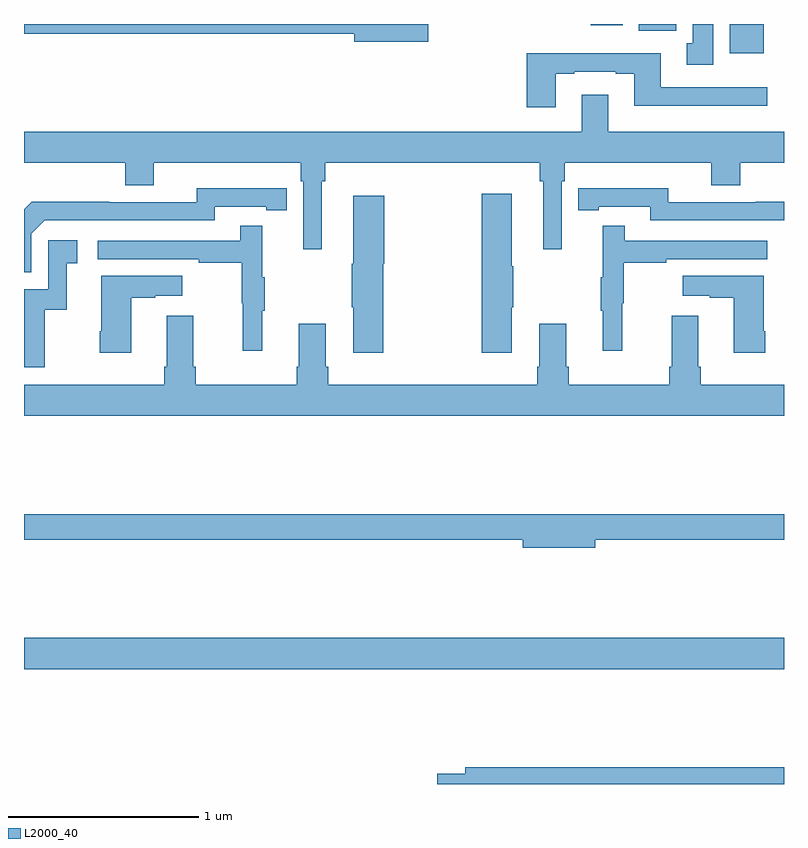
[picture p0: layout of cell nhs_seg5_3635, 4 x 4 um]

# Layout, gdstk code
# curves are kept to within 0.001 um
import gdstk
lib = gdstk.Library(unit=1e-6, precision=1e-09)
def R(c, l, rs):  # rectangles x0, y0, x1, y1
    for r in rs: c.add(gdstk.rectangle(r[:2], r[2:], *l))
def P(c, l, *ps):  # polygons
    for p in ps: c.add(gdstk.Polygon(p, *l))
L2000_40 = (2000, 40)

nhs_seg5_3635 = lib.new_cell('nhs_seg5_3635')
R(nhs_seg5_3635, L2000_40, [(325,879.404,329,879.568), (328.715,882.644,328.894,882.799), (328.235,882.764,328.432,882.799), (327.983,882.792,328.15,882.799)])
P(nhs_seg5_3635, L2000_40, [(328.627,882.799),(328.52,882.799),(328.52,882.698),(328.487,882.698),(328.487,882.585),(328.627,882.585)],
  [(327.127,882.799),(325,882.799),(325,882.748),(326.738,882.748),(326.738,882.706),(327.127,882.706)],
  [(327.799,882.537),(327.895,882.537),(327.895,882.549),(328.115,882.549),(328.115,882.537),(328.211,882.537),(328.211,882.368),(328.912,882.368),(328.912,882.465),(328.351,882.465),(328.351,882.646),(327.647,882.646),(327.647,882.36),(327.799,882.36)],
  [(326.566,881.972),(326.585,881.972),(326.585,882.068),(327.715,882.068),(327.715,881.972),(327.734,881.972),(327.734,881.613),(327.831,881.613),(327.831,881.972),(327.845,881.972),(327.845,882.068),(328.616,882.068),(328.616,881.951),(328.769,881.951),(328.769,882.068),(329,882.068),(329,882.232),(328.075,882.232),(328.075,882.427),(327.935,882.427),(327.935,882.232),(325,882.232),(325,882.068),(325.532,882.068),(325.532,881.951),(325.684,881.951),(325.684,882.068),(326.456,882.068),(326.456,881.972),(326.469,881.972),(326.469,881.613),(326.566,881.613)],
  [(325.038,881.694),(325.11,881.766),(326.004,881.766),(326.004,881.838),(326.276,881.838),(326.276,881.818),(326.384,881.818),(326.384,881.934),(325.908,881.935),(325.908,881.862),(325.448,881.862),(325.448,881.864),(325.04,881.864),(325,881.824),(325,881.493),(325.038,881.493)],
  [(329,881.864),(328.852,881.864),(328.852,881.862),(328.392,881.862),(328.392,881.935),(328.024,881.935),(328.024,881.934),(327.916,881.934),(327.916,881.818),(328.024,881.818),(328.024,881.838),(328.296,881.838),(328.296,881.766),(329,881.766)],
  [(327.568,881.308),(327.576,881.308),(327.576,881.525),(327.568,881.525),(327.568,881.905),(327.41,881.905),(327.41,881.07),(327.568,881.07)],
  [(326.891,881.538),(326.896,881.538),(326.896,881.896),(326.732,881.896),(326.732,881.538),(326.725,881.538),(326.725,881.308),(326.732,881.308),(326.732,881.07),(326.891,881.07)],
  [(326.255,881.291),(326.266,881.291),(326.266,881.465),(326.255,881.465),(326.255,881.737),(326.137,881.737),(326.137,881.658),(325.389,881.658),(325.389,881.562),(325.921,881.562),(325.921,881.542),(326.145,881.542),(326.145,881.328),(326.152,881.328),(326.152,881.079),(326.255,881.079)],
  [(328.148,881.328),(328.156,881.328),(328.156,881.542),(328.379,881.542),(328.379,881.562),(328.912,881.562),(328.912,881.658),(328.163,881.658),(328.163,881.737),(328.046,881.737),(328.046,881.465),(328.035,881.465),(328.035,881.291),(328.046,881.291),(328.046,881.079),(328.148,881.079)],
  [(325.108,881.295),(325.226,881.295),(325.226,881.541),(325.279,881.541),(325.279,881.662),(325.128,881.662),(325.128,881.403),(325,881.403),(325,880.992),(325.108,880.992)],
  [(325.564,881.359),(325.691,881.359),(325.691,881.369),(325.834,881.369),(325.834,881.473),(325.406,881.473),(325.406,881.182),(325.399,881.182),(325.399,881.07),(325.564,881.07)],
  [(328.902,881.182),(328.894,881.182),(328.894,881.473),(328.467,881.473),(328.467,881.369),(328.61,881.369),(328.61,881.359),(328.736,881.359),(328.736,881.07),(328.902,881.07)],
  [(329,880.9),(328.562,880.9),(328.562,880.996),(328.549,880.996),(328.549,881.263),(328.409,881.263),(328.409,880.996),(328.397,880.996),(328.397,880.9),(327.866,880.9),(327.866,880.996),(327.853,880.996),(327.853,881.221),(327.713,881.221),(327.713,880.996),(327.701,880.996),(327.701,880.9),(326.6,880.9),(326.6,880.996),(326.587,880.996),(326.587,881.221),(326.447,881.221),(326.447,880.996),(326.435,880.996),(326.435,880.9),(325.904,880.9),(325.904,880.996),(325.891,880.996),(325.891,881.263),(325.751,881.263),(325.751,880.996),(325.739,880.996),(325.739,880.9),(325,880.9),(325,880.736),(329,880.736)],
  [(328.006,880.084),(329,880.084),(329,880.22),(325,880.22),(325,880.084),(327.626,880.084),(327.626,880.042),(328.006,880.042)],
  [(329,878.888),(327.323,878.888),(327.323,878.852),(327.174,878.852),(327.174,878.799),(329,878.799)])

lib.write_gds('nhs_seg5_3635.gds')
